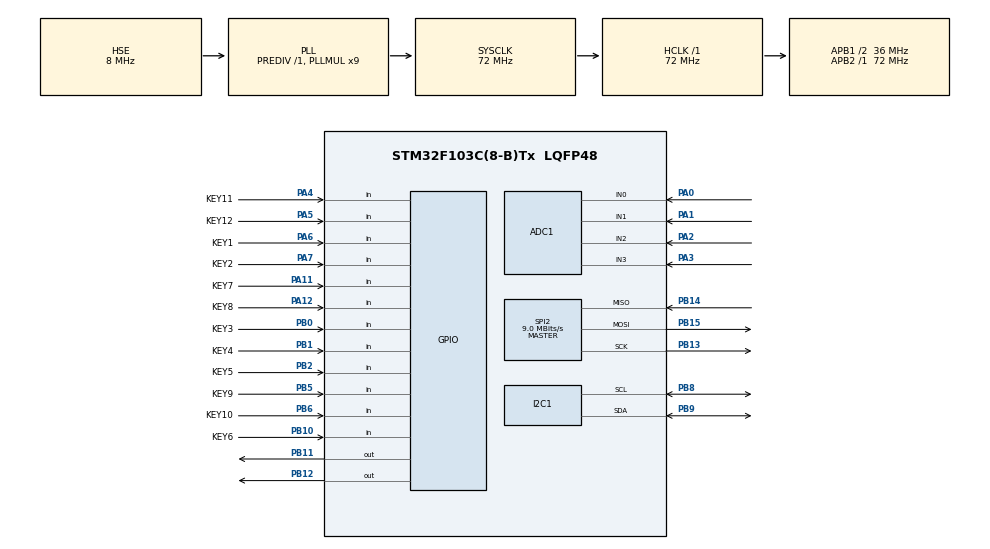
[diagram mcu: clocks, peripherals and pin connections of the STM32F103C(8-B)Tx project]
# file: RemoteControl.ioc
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ADC1.Channel-0\#ChannelRegularConversion=ADC_CHANNEL_0
ADC1.Channel-1\#ChannelRegularConversion=ADC_CHANNEL_1
ADC1.Channel-2\#ChannelRegularConversion=ADC_CHANNEL_2
ADC1.Channel-3\#ChannelRegularConversion=ADC_CHANNEL_3
ADC1.ContinuousConvMode=ENABLE
ADC1.NbrOfConversion=4
ADC1.NbrOfConversionFlag=1
ADC1.Rank-0\#ChannelRegularConversion=1
ADC1.Rank-1\#ChannelRegularConversion=2
ADC1.Rank-2\#ChannelRegularConversion=3
ADC1.Rank-3\#ChannelRegularConversion=4
ADC1.SamplingTime-0\#ChannelRegularConversion=ADC_SAMPLETIME_55CYCLES_5
ADC1.SamplingTime-1\#ChannelRegularConversion=ADC_SAMPLETIME_55CYCLES_5
ADC1.SamplingTime-2\#ChannelRegularConversion=ADC_SAMPLETIME_55CYCLES_5
ADC1.SamplingTime-3\#ChannelRegularConversion=ADC_SAMPLETIME_55CYCLES_5
ADC1.ScanConvMode=ADC_SCAN_ENABLE
ADC1.master=1
Dma.ADC1.0.Direction=DMA_PERIPH_TO_MEMORY
Dma.ADC1.0.Instance=DMA1_Channel1
Dma.ADC1.0.MemDataAlignment=DMA_MDATAALIGN_HALFWORD
Dma.ADC1.0.MemInc=DMA_MINC_ENABLE
Dma.ADC1.0.Mode=DMA_CIRCULAR
Dma.ADC1.0.PeriphDataAlignment=DMA_PDATAALIGN_HALFWORD
Dma.ADC1.0.PeriphInc=DMA_PINC_DISABLE
Dma.ADC1.0.Priority=DMA_PRIORITY_LOW
Dma.Request0=ADC1
I2C1.I2C_Mode=I2C_Fast
Mcu.Family=STM32F1
Mcu.Name=STM32F103C(8-B)Tx
Mcu.Package=LQFP48
NVIC.DMA1_Channel1_IRQn=false\:0\:0\:false\:false\:true\:false\:true\:true
NVIC.PriorityGroup=NVIC_PRIORITYGROUP_2
NVIC.TIM1_UP_IRQn=true\:2\:1\:false\:false\:true\:true\:true\:true
PA0-WKUP.Signal=ADCx_IN0
PA1.Signal=ADCx_IN1
PA11.GPIO_Label=KEY7
PA11.GPIO_PuPd=GPIO_PULLUP
PA11.Signal=GPIO_Input
PA12.GPIO_Label=KEY8
PA12.GPIO_Mode=GPIO_MODE_INPUT
PA12.GPIO_PuPd=GPIO_PULLUP
PA12.Signal=GPIO_Input
PA13.Mode=Serial_Wire
PA13.Signal=SYS_JTMS-SWDIO
PA14.Mode=Serial_Wire
PA14.Signal=SYS_JTCK-SWCLK
PA2.Signal=ADCx_IN2
PA3.Signal=ADCx_IN3
PA4.GPIO_Label=KEY11
PA4.GPIO_Mode=GPIO_MODE_INPUT
PA4.GPIO_PuPd=GPIO_PULLUP
PA4.Signal=GPIO_Input
PA5.GPIO_Label=KEY12
PA5.GPIO_Mode=GPIO_MODE_INPUT
PA5.GPIO_PuPd=GPIO_PULLUP
PA5.Signal=GPIO_Input
PA6.GPIO_Label=KEY1
PA6.GPIO_Mode=GPIO_MODE_INPUT
PA6.GPIO_PuPd=GPIO_PULLUP
PA6.Signal=GPIO_Input
PA7.GPIO_Label=KEY2
PA7.GPIO_Mode=GPIO_MODE_INPUT
PA7.GPIO_PuPd=GPIO_PULLUP
PA7.Signal=GPIO_Input
PB0.GPIO_Label=KEY3
PB0.GPIO_Mode=GPIO_MODE_INPUT
PB0.GPIO_PuPd=GPIO_PULLUP
PB0.Signal=GPIO_Input
PB1.GPIO_Label=KEY4
PB1.GPIO_Mode=GPIO_MODE_INPUT
PB1.GPIO_PuPd=GPIO_PULLUP
PB1.Signal=GPIO_Input
PB10.GPIO_Label=KEY6
PB10.GPIO_Mode=GPIO_MODE_INPUT
PB10.GPIO_PuPd=GPIO_PULLUP
PB10.Signal=GPIO_Input
PB11.PinState=GPIO_PIN_RESET
PB11.Signal=GPIO_Output
PB12.PinState=GPIO_PIN_SET
PB12.Signal=GPIO_Output
PB13.Mode=Full_Duplex_Master
PB13.Signal=SPI2_SCK
PB14.Mode=Full_Duplex_Master
PB14.Signal=SPI2_MISO
PB15.Mode=Full_Duplex_Master
PB15.Signal=SPI2_MOSI
PB2.GPIO_Label=KEY5
PB2.GPIO_Mode=GPIO_MODE_INPUT
PB2.GPIO_PuPd=GPIO_PULLUP
PB2.Signal=GPIO_Input
PB5.GPIO_Label=KEY9
PB5.GPIO_Mode=GPIO_MODE_INPUT
PB5.GPIO_PuPd=GPIO_PULLUP
PB5.Signal=GPIO_Input
PB6.GPIO_Label=KEY10
PB6.GPIO_Mode=GPIO_MODE_INPUT
PB6.GPIO_PuPd=GPIO_PULLUP
PB6.Signal=GPIO_Input
PB8.Mode=I2C
PB8.Signal=I2C1_SCL
PB9.Mode=I2C
PB9.Signal=I2C1_SDA
PD0-OSC_IN.Mode=HSE-External-Oscillator
PD0-OSC_IN.Signal=RCC_OSC_IN
PD1-OSC_OUT.Mode=HSE-External-Oscillator
PD1-OSC_OUT.Signal=RCC_OSC_OUT
ProjectManager.HeapSize=0x200
ProjectManager.StackSize=0x800
ProjectManager.TargetToolchain=CMake
RCC.ADCPresc=RCC_ADCPCLK2_DIV6
RCC.AHBFreq_Value=72000000
RCC.APB1CLKDivider=RCC_HCLK_DIV2
RCC.APB1Freq_Value=36000000
RCC.APB1TimFreq_Value=72000000
RCC.APB2Freq_Value=72000000
RCC.APB2TimFreq_Value=72000000
RCC.HCLKFreq_Value=72000000
RCC.PLLMUL=RCC_PLL_MUL9
RCC.PLLSourceVirtual=RCC_PLLSOURCE_HSE
RCC.SYSCLKFreq_VALUE=72000000
RCC.SYSCLKSource=RCC_SYSCLKSOURCE_PLLCLK
RCC.USBFreq_Value=72000000
SH.ADCx_IN0.0=ADC1_IN0,IN0
SH.ADCx_IN1.0=ADC1_IN1,IN1
SH.ADCx_IN2.0=ADC1_IN2,IN2
SH.ADCx_IN3.0=ADC1_IN3,IN3
SPI2.BaudRatePrescaler=SPI_BAUDRATEPRESCALER_4
SPI2.CalculateBaudRate=9.0 MBits/s
SPI2.Direction=SPI_DIRECTION_2LINES
SPI2.Mode=SPI_MODE_MASTER
SPI2.VirtualType=VM_MASTER
TIM1.Period=1000-1
TIM1.Prescaler=72-1
VP_TIM1_VS_ClockSourceINT.Mode=Internal
board=custom

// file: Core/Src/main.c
/* USER CODE BEGIN Header */
/**
  ******************************************************************************
  * @file           : main.c
  * @brief          : Main program body
  ******************************************************************************
  * @attention
  *
  * Copyright (c) 2026 STMicroelectronics.
  * All rights reserved.
  *
  * This software is licensed under terms that can be found in the LICENSE file
  * in the root directory of this software component.
  * If no LICENSE file comes with this software, it is provided AS-IS.
  *
  ******************************************************************************
  */
/* USER CODE END Header */
#include "main.h"
#include "adc.h"
#include "dma.h"
#include "i2c.h"
#include "spi.h"
#include "tim.h"
#include "gpio.h"

/* USER CODE BEGIN Includes */
#include "oled.h"
#include "nrf24l01.h"
#include "key.h"
#include "ad.h"
#include "telemetry_state.h"
#include <string.h>
/* USER CODE END Includes */

/* USER CODE BEGIN PV */
uint8_t KeyNum;							//本次松手产生的键号，一次性事件
uint16_t AD_LH, AD_LV, AD_RH, AD_RV;	//四路摇杆 ADC 原始值，范围 0~4095
int8_t LH, LV, RH, RV;					//四路摇杆换算值，范围 -100~+100
uint8_t KEY;							//待发送的键号，发送成功后才清零
volatile uint8_t Send_Flag;				//100ms 发送标志，由 1ms 中断置 1（ISR 写 / 主循环读）
uint8_t Send_Result;					//发送结果：1 成功 / 2 重传失败 / 3 状态非法 / 4 超时
uint8_t Sig;							//最近 10 次发送的成功次数，范围 0~10
uint8_t Mode;							//0 摇杆页 / 1 数据回传页
static TelemetryState LockState;
/* USER CODE END PV */

void SystemClock_Config(void);
/* USER CODE BEGIN PFP */
int8_t DataProcess(uint16_t ADValue);
uint8_t CalculateSuccessRatio(uint8_t SendResult);
/* USER CODE END PFP */

int main(void)
{

  /* MCU Configuration--------------------------------------------------------*/

  /* Reset of all peripherals, Initializes the Flash interface and the Systick. */
  HAL_Init();

  /* USER CODE BEGIN Init */
  /* HAL_Init() 内部固定设置 NVIC_PRIORITYGROUP_4，而本工程按指南要求使用 2 bits
     抢占 + 2 bits 子优先级，必须在这里显式覆盖，否则 tim.c 里的 (2,1) 会被解释成全抢占位 */
  HAL_NVIC_SetPriorityGrouping(NVIC_PRIORITYGROUP_2);
  /* USER CODE END Init */

  /* Configure the system clock */
  SystemClock_Config();

  /* Initialize all configured peripherals */
  MX_GPIO_Init();
  MX_DMA_Init();
  MX_ADC1_Init();
  MX_I2C1_Init();
  MX_SPI2_Init();
  MX_TIM1_Init();
  /* USER CODE BEGIN 2 */
  OLED_Init();                     /* 硬件 I2C1 初始化 + 清屏 */
  NRF24L01_Init();                 /* 硬件 SPI2 配寄存器，进 RX 模式 */
  AD_Init();                       /* ADC 上电校准 + 启动 DMA 连续转换 */
  TelemetryState_Reset(&LockState, HAL_GetTick());

  /* CubeMX 生成的 MX_TIM1_Init 只初始化不启动，必须显式启动 1ms 中断 */
  HAL_TIM_Base_Start_IT(&htim1);
  /* USER CODE END 2 */

  /* Infinite loop */
  while (1)
  {

    /* USER CODE BEGIN 3 */
    /* 1. 读按键：KeyNum 只用于判断切页，KEY 负责锁存待发送的键号 */
    KeyNum = Key_GetNum();
    if (KeyNum != 0)
    {
      KEY = KeyNum;
    }
    if (KeyNum == 9)                /* KEY9 切换 OLED 页，键号照发给飞控（飞控端忽略） */
    {
      Mode = !Mode;
      OLED_Clear();
    }

    /* 2. 读四路摇杆（DMA 已在后台连续搬运，这里只取最新值），换算成 -100~+100 */
    AD_Read(&AD_LH, &AD_LV, &AD_RH, &AD_RV);

    LH = DataProcess(AD_LH);
    LV = DataProcess(AD_LV);
    RH = DataProcess(AD_RH);
    RV = DataProcess(AD_RV);

    /* 3. 到 100ms 发一帧，即 10Hz */
    if (Send_Flag == 1)
    {
      NRF24L01_TxPacket[0] = Mode;
      NRF24L01_TxPacket[1] = LH;
      NRF24L01_TxPacket[2] = LV;
      NRF24L01_TxPacket[3] = RH;
      NRF24L01_TxPacket[4] = RV;
      NRF24L01_TxPacket[5] = KEY;
      NRF24L01_TxPacket[6] = 0xA5;  /* 在两个页面请求飞控遥测 */

      Send_Result = NRF24L01_Send();
      Sig = CalculateSuccessRatio(Send_Result);

      if (Send_Result == 1)
      {
        KEY = 0;                    /* 发送成功才清键号，失败则下一帧重发 */
      }

      Send_Flag = 0;
    }

    /* 4. 两页共用遥测接收和状态超时；切页不重置最新状态。 */
    if (TelemetryState_Expire(&LockState, HAL_GetTick()))
    {
      NRF24L01_DiscardRx();         /* 停顿后 FIFO 内的帧可能已经过期 */
    }
    else if (NRF24L01_Receive() == 1 && NRF24L01_RxPacket[0] == 0x02)
    {
      TelemetryState_Update(&LockState, NRF24L01_RxPacket[3], HAL_GetTick());
      if (Mode == 1)
      {
        int8_t LeftPWM = (int8_t)NRF24L01_RxPacket[1];
        int8_t RightPWM = (int8_t)NRF24L01_RxPacket[2];
        float Angle, LeftSpeed, RightSpeed;
        memcpy(&Angle, &NRF24L01_RxPacket[4], 4);
        memcpy(&LeftSpeed, &NRF24L01_RxPacket[8], 4);
        memcpy(&RightSpeed, &NRF24L01_RxPacket[12], 4);
        OLED_Printf(0, 16, OLED_8X16, "Angle:%+06.1f", Angle);
        OLED_Printf(0, 32, OLED_8X16, "PWM:%+05d %+05d", LeftPWM, RightPWM);
        OLED_Printf(0, 48, OLED_8X16, "Spd:%+05.1f %+05.1f", LeftSpeed, RightSpeed);
      }
    }
    OLED_Printf(0, 0, OLED_8X16, "%-7s", TelemetryState_Label(&LockState));
    OLED_Printf(64, 0, OLED_8X16, "Sig:%02d", Sig);
    if (Mode == 0)
    {
      OLED_Printf(0, 16, OLED_8X16, "LH:%+04d", LH);
      OLED_Printf(0, 32, OLED_8X16, "LV:%+04d", LV);
      OLED_Printf(64, 16, OLED_8X16, "RH:%+04d", RH);
      OLED_Printf(64, 32, OLED_8X16, "RV:%+04d", RV);
    }

    OLED_Update();                  /* 整屏刷新，400kHz 下约 23ms */
  }
  /* USER CODE END 3 */
}

void SystemClock_Config(void)
{
  RCC_OscInitTypeDef RCC_OscInitStruct = {0};
  RCC_ClkInitTypeDef RCC_ClkInitStruct = {0};
  RCC_PeriphCLKInitTypeDef PeriphClkInit = {0};

  /** Initializes the RCC Oscillators according to the specified parameters
  * in the RCC_OscInitTypeDef structure.
  */
  RCC_OscInitStruct.OscillatorType = RCC_OSCILLATORTYPE_HSE;
  RCC_OscInitStruct.HSEState = RCC_HSE_ON;
  RCC_OscInitStruct.HSEPredivValue = RCC_HSE_PREDIV_DIV1;
  RCC_OscInitStruct.HSIState = RCC_HSI_ON;
  RCC_OscInitStruct.PLL.PLLState = RCC_PLL_ON;
  RCC_OscInitStruct.PLL.PLLSource = RCC_PLLSOURCE_HSE;
  RCC_OscInitStruct.PLL.PLLMUL = RCC_PLL_MUL9;
  if (HAL_RCC_OscConfig(&RCC_OscInitStruct) != HAL_OK)
  {
    Error_Handler();
  }

  /** Initializes the CPU, AHB and APB buses clocks
  */
  RCC_ClkInitStruct.ClockType = RCC_CLOCKTYPE_HCLK|RCC_CLOCKTYPE_SYSCLK
                              |RCC_CLOCKTYPE_PCLK1|RCC_CLOCKTYPE_PCLK2;
  RCC_ClkInitStruct.SYSCLKSource = RCC_SYSCLKSOURCE_PLLCLK;
  RCC_ClkInitStruct.AHBCLKDivider = RCC_SYSCLK_DIV1;
  RCC_ClkInitStruct.APB1CLKDivider = RCC_HCLK_DIV2;
  RCC_ClkInitStruct.APB2CLKDivider = RCC_HCLK_DIV1;

  if (HAL_RCC_ClockConfig(&RCC_ClkInitStruct, FLASH_LATENCY_2) != HAL_OK)
  {
    Error_Handler();
  }
  PeriphClkInit.PeriphClockSelection = RCC_PERIPHCLK_ADC;
  PeriphClkInit.AdcClockSelection = RCC_ADCPCLK2_DIV6;
  if (HAL_RCCEx_PeriphCLKConfig(&PeriphClkInit) != HAL_OK)
  {
    Error_Handler();
  }
}

/* USER CODE BEGIN 4 */
/**
  * @brief  TIM1 1ms 周期中断回调：按键扫描节拍 + 100ms 发送定时
  * @param  htim 触发中断的定时器句柄
  */
void HAL_TIM_PeriodElapsedCallback(TIM_HandleTypeDef *htim)
{
  static uint16_t Send_Count;

  if (htim->Instance == TIM1)
  {
    Key_Tick();                     /* 内部每 20ms 真正扫一次 GPIO */

    if (++Send_Count >= 100)        /* 100ms 一帧，即 10Hz */
    {
      Send_Count = 0;
      Send_Flag = 1;
    }
  }
}

/**
  * @brief  ADC 原始值换算成摇杆轴值
  * @param  ADValue ADC 原始值，0~4095
  * @retval -100~+100，中值 2048，死区 ±100
  */
int8_t DataProcess(uint16_t ADValue)
{
  int16_t Value;

  Value = (int16_t)ADValue - 2048;  /* -2048 ~ 2047 */

  if (Value > 100)
  {
    Value -= 100;
  }
  else if (Value < -100)
  {
    Value += 100;
  }
  else
  {
    Value = 0;
  }

  Value = Value * 101 / 1949;       /* -1948 ~ 1947 映射到 -100 ~ 100 */

  return (int8_t)Value;
}

/**
  * @brief  统计最近 10 次发送的成功次数
  * @param  SendResult 单次发送结果，1 表示成功
  * @retval 0~10，只代表链路质量
  */
uint8_t CalculateSuccessRatio(uint8_t SendResult)
{
  static uint8_t SendFlagArray[10];
  static uint8_t p;
  uint8_t i, SuccessCount;

  SendFlagArray[p] = SendResult;
  p++;
  p %= 10;

  SuccessCount = 0;
  for (i = 0; i < 10; i++)
  {
    if (SendFlagArray[i] == 1)
    {
      SuccessCount++;
    }
  }

  return SuccessCount;
}
/* USER CODE END 4 */

void Error_Handler(void)
{
  __disable_irq();
  while (1)
  {
  }
}
